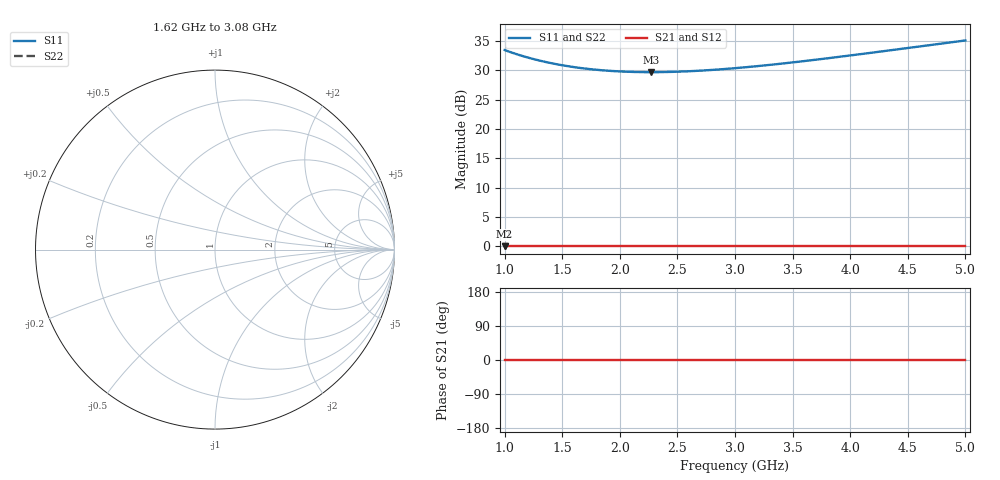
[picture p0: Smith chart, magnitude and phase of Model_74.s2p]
# GHZ S RI R 50
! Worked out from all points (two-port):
!   401 points, 1 GHz to 5 GHz, reference 50 ohm
!   highest |S21| = 0.00 dB at 1 GHz (marker M1); lowest = 0.0 dB at 1 GHz (marker M2)
!   |S21| within 3 dB of the highest: start of sweep to end of sweep
!   lowest |S11| = 29.7 dB at 2.27 GHz (marker M3)
!   |S11| at or under -10 dB: nowhere
!   |S22| runs from 29.7 to 35.1 dB; largest |S21 - S12| = 0
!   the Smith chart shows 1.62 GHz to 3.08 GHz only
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1  47.21 0  1 0  1 0  47.21 0
1.15  42.13 0  1 0  1 0  42.13 0
1.22  40.26 0  1 0  1 0  40.26 0
1.3  38.44 0  1 0  1 0  38.44 0
1.38  36.9 0  1 0  1 0  36.9 0
1.47  35.44 0  1 0  1 0  35.44 0
1.57  34.12 0  1 0  1 0  34.12 0
1.67  33.06 0  1 0  1 0  33.06 0
1.81  31.95 0  1 0  1 0  31.95 0
1.95  31.2 0  1 0  1 0  31.2 0
2.11  30.71 0  1 0  1 0  30.71 0
2.27  30.56 0  1 0  1 0  30.56 0
2.34  30.58 0  1 0  1 0  30.58 0
2.5  30.83 0  1 0  1 0  30.83 0
2.66  31.32 0  1 0  1 0  31.32 0
3  33.04 0  1 0  1 0  33.04 0
3.33  35.49 0  1 0  1 0  35.49 0
3.67  38.7 0  1 0  1 0  38.7 0
4  42.43 0  1 0  1 0  42.43 0
4.34  46.85 0  1 0  1 0  46.85 0
4.63  51.06 0  1 0  1 0  51.06 0
5  56.99 0  1 0  1 0  56.99 0
